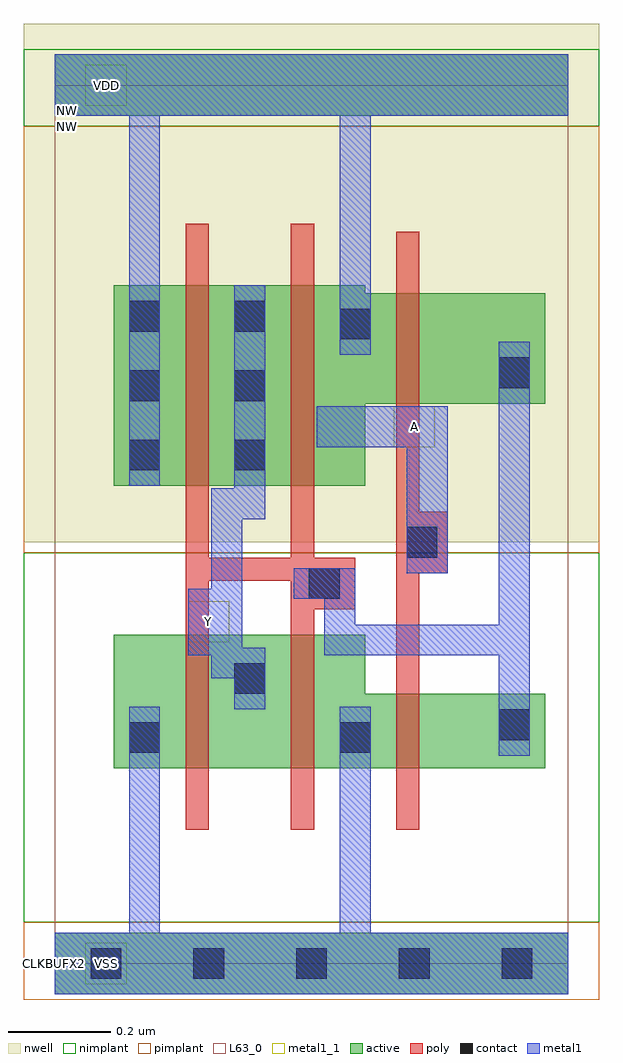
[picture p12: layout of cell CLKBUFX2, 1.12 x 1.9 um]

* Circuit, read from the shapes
.subckt CLKBUFX2 A NW VDD VSS Y
M1 Y n1 VSS VSS nfet w=0.26u l=0.045u m=2
M2 n1 A VSS VSS nfet w=0.145u l=0.045u
M3 Y n1 VDD NW pfet w=0.39u l=0.045u m=2
M4 n1 A VDD NW pfet w=0.215u l=0.045u
.ends

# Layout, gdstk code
import gdstk
lib = gdstk.Library(unit=1e-6, precision=5e-10)
def R(c, l, rs):  # rectangles x0, y0, x1, y1
    for r in rs: c.add(gdstk.rectangle(r[:2], r[2:], *l))
def A(c, l, x, y, w, h, nx, ny, dx, dy):  # array of equal rectangles
    R(c, l, [(x+i*dx, y+j*dy, x+i*dx+w, y+j*dy+h) for i in range(nx) for j in range(ny)])
def P(c, l, *ps):  # polygons
    for p in ps: c.add(gdstk.Polygon(p, *l))
active = (1, 0)
nwell = (2, 0)
poly = (3, 0)
nimplant = (4, 0)
pimplant = (5, 0)
contact = (6, 0)
metal1 = (7, 0)
metal1_1 = (7, 1)
L63_0 = (63, 0)

clkbufx2 = lib.new_cell('CLKBUFX2')
R(clkbufx2, active, [(0,-0.06,1,0.06), (0,1.65,1,1.77)])
P(clkbufx2, active, [(0.115,1.32),(0.605,1.32),(0.605,1.305),(0.955,1.305),(0.955,1.09),(0.605,1.09),(0.605,0.93),(0.115,0.93)],
  [(0.115,0.64),(0.605,0.64),(0.605,0.525),(0.955,0.525),(0.955,0.38),(0.115,0.38)])
R(clkbufx2, nwell, [(-0.06,0.82,1.06,1.83), (0,1.61,0.05,1.71)])
P(clkbufx2, poly, [(0.255,1.44),(0.3,1.44),(0.3,0.79),(0.46,0.79),(0.46,1.44),(0.505,1.44),(0.505,0.79),(0.585,0.79),(0.585,0.69),(0.505,0.69),(0.505,0.26),(0.46,0.26),(0.46,0.745),(0.3,0.745),(0.3,0.26),(0.255,0.26)],
  [(0.665,1.425),(0.71,1.425),(0.71,0.88),(0.765,0.88),(0.765,0.76),(0.71,0.76),(0.71,0.26),(0.665,0.26)])
R(clkbufx2, nimplant, [(-0.06,0.08,1.06,0.8), (-0.06,1.63,1.06,1.78)])
R(clkbufx2, pimplant, [(-0.06,-0.07,1.06,0.08), (-0.06,0.8,1.06,1.63)])
A(clkbufx2, contact, 0.07, -0.03, 0.06, 0.06, 5, 1, 0.2, 0)
A(clkbufx2, contact, 0.145, 0.96, 0.06, 0.06, 1, 3, 0, 0.135)
A(clkbufx2, contact, 0.35, 0.96, 0.06, 0.06, 1, 3, 0, 0.135)
R(clkbufx2, contact, [(0.145,0.41,0.205,0.47), (0.555,0.41,0.615,0.47), (0.865,0.435,0.925,0.495), (0.35,0.525,0.41,0.585), (0.495,0.71,0.555,0.77), (0.685,0.79,0.745,0.85), (0.865,1.12,0.925,1.18), (0.555,1.215,0.615,1.275)])
R(clkbufx2, metal1, [(0.145,0.06,0.205,0.5), (0.555,0.06,0.615,0.5), (0.145,0.93,0.205,1.65), (0.555,1.185,0.615,1.65)])
P(clkbufx2, metal1, [(0.51,1.085),(0.765,1.085),(0.765,0.76),(0.685,0.76),(0.685,1.005),(0.51,1.005)],
  [(0.35,1.32),(0.41,1.32),(0.41,0.865),(0.365,0.865),(0.365,0.615),(0.41,0.615),(0.41,0.495),(0.35,0.495),(0.35,0.555),(0.305,0.555),(0.305,0.6),(0.26,0.6),(0.26,0.73),(0.305,0.73),(0.305,0.925),(0.35,0.925)],
  [(0.465,0.77),(0.585,0.77),(0.585,0.66),(0.865,0.66),(0.865,1.21),(0.925,1.21),(0.925,0.405),(0.865,0.405),(0.865,0.6),(0.525,0.6),(0.525,0.71),(0.465,0.71)])
R(clkbufx2, metal1_1, [(0.06,-0.04,0.14,0.04), (0.26,0.625,0.34,0.705), (0.66,1.005,0.74,1.085), (0.06,1.67,0.14,1.75)])
R(clkbufx2, L63_0, [(0,0,1,1.71)])
clkbufx2.add(gdstk.FlexPath([(0,0),(1,0)], 0.12, ends="flush", simple_path=True, layer=7, datatype=0))  # metal1
clkbufx2.add(gdstk.FlexPath([(0,1.71),(1,1.71)], 0.12, ends="flush", simple_path=True, layer=7, datatype=0))  # metal1
clkbufx2.add(gdstk.Label('Y', (0.3,0.665), layer=7, texttype=1))
clkbufx2.add(gdstk.Label('A', (0.7,1.045), layer=7, texttype=1))
clkbufx2.add(gdstk.Label('VDD', (0.1,1.71), layer=7, texttype=1))
clkbufx2.add(gdstk.Label('VSS', (0.1,0), layer=7, texttype=1))
clkbufx2.add(gdstk.Label('VSS', (0.1,0), layer=7, texttype=1))
clkbufx2.add(gdstk.Label('VDD', (0.1,1.71), layer=7, texttype=1))
clkbufx2.add(gdstk.Label('A', (0.7,1.045), layer=7, texttype=1))
clkbufx2.add(gdstk.Label('Y', (0.3,0.665), layer=7, texttype=1))
clkbufx2.add(gdstk.Label('CLKBUFX2', (0,0), layer=63, texttype=0))
clkbufx2.add(gdstk.Label('NW', (0.025,1.66), layer=2, texttype=0))
clkbufx2.add(gdstk.Label('NW', (0.025,1.63), layer=2, texttype=0))

lib.write_gds('CLKBUFX2.gds')
